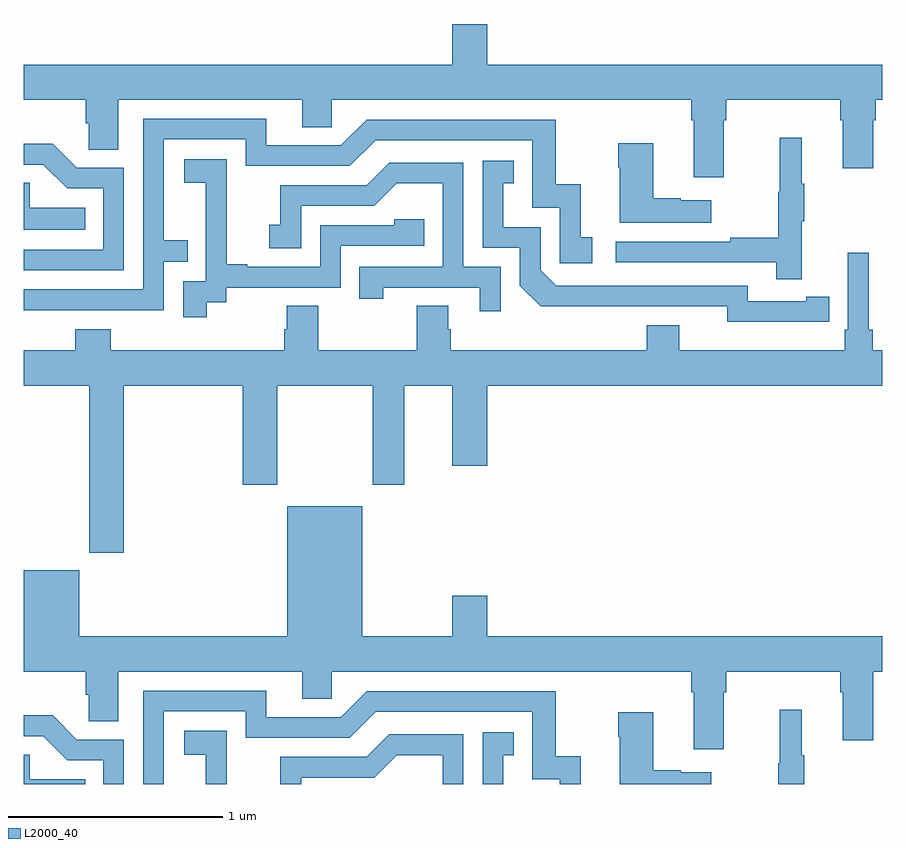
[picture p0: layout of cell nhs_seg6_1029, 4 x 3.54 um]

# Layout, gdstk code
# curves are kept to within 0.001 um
import gdstk
lib = gdstk.Library(unit=1e-6, precision=1e-09)
def P(c, l, *ps):  # polygons
    for p in ps: c.add(gdstk.Polygon(p, *l))
L2000_40 = (2000, 40)

nhs_seg6_1029 = lib.new_cell('nhs_seg6_1029')
P(nhs_seg6_1029, L2000_40, [(178.261,928.592),(178.274,928.592),(178.274,928.688),(178.805,928.688),(178.805,928.592),(178.817,928.592),(178.817,928.368),(178.957,928.368),(178.957,928.592),(178.97,928.592),(178.97,928.688),(179,928.688),(179,928.852),(177.16,928.852),(177.16,929.041),(176.996,929.041),(176.996,928.852),(175,928.852),(175,928.688),(175.289,928.688),(175.289,928.579),(175.302,928.579),(175.302,928.456),(175.441,928.456),(175.441,928.688),(176.297,928.688),(176.297,928.561),(176.436,928.561),(176.436,928.688),(178.109,928.688),(178.109,928.592),(178.121,928.592),(178.121,928.326),(178.261,928.326)],
  [(175.157,927.708),(175.653,927.708),(175.653,927.933),(175.763,927.933),(175.763,928.034),(175.653,928.034),(175.653,928.503),(176.034,928.503),(176.034,928.38),(176.52,928.38),(176.64,928.5),(177.369,928.5),(177.369,928.185),(177.498,928.185),(177.498,927.927),(177.649,927.927),(177.649,928.047),(177.596,928.047),(177.596,928.294),(177.478,928.294),(177.478,928.596),(176.598,928.596),(176.478,928.476),(176.131,928.476),(176.131,928.599),(175.557,928.599),(175.557,927.804),(175,927.804),(175,927.707)],
  [(178.625,928.123),(178.636,928.123),(178.636,928.297),(178.625,928.297),(178.625,928.51),(178.522,928.51),(178.522,928.26),(178.515,928.26),(178.515,928.046),(178.291,928.046),(178.291,928.026),(177.759,928.026),(177.759,927.93),(178.507,927.93),(178.507,927.852),(178.625,927.852)],
  [(178.204,928.219),(178.061,928.219),(178.061,928.229),(177.934,928.229),(177.934,928.486),(177.769,928.486),(177.769,928.373),(177.776,928.373),(177.776,928.115),(178.204,928.115)],
  [(175.467,928.371),(175.248,928.371),(175.135,928.484),(175,928.484),(175,928.386),(175.091,928.386),(175.202,928.275),(175.371,928.275),(175.371,927.99),(175,927.99),(175,927.894),(175.467,927.894)],
  [(175.852,927.745),(175.944,927.745),(175.944,927.813),(176.478,927.813),(176.478,928.008),(176.867,928.008),(176.867,928.131),(176.727,928.131),(176.727,928.104),(176.382,928.104),(176.382,927.909),(176.041,927.909),(176.041,927.922),(175.946,927.922),(175.946,928.205),(175.947,928.205),(175.947,928.411),(175.749,928.411),(175.749,928.301),(175.847,928.301),(175.847,928.073),(175.848,928.073),(175.848,927.843),(175.743,927.843),(175.743,927.675),(175.852,927.675)],
  [(178.646,927.654),(178.754,927.654),(178.754,927.77),(178.646,927.77),(178.646,927.75),(178.374,927.75),(178.374,927.822),(177.48,927.822),(177.408,927.894),(177.408,928.095),(177.235,928.095),(177.235,928.299),(177.284,928.299),(177.284,928.405),(177.138,928.405),(177.138,927.999),(177.312,927.999),(177.312,927.822),(177.41,927.725),(178.278,927.726),(178.278,927.653)],
  [(177.222,927.909),(177.048,927.909),(177.048,928.395),(176.702,928.395),(176.597,928.29),(176.194,928.29),(176.194,928.105),(176.145,928.105),(176.145,927.996),(176.292,927.996),(176.292,928.194),(176.634,928.194),(176.738,928.298),(176.952,928.298),(176.952,927.909),(176.563,927.909),(176.563,927.762),(176.674,927.762),(176.674,927.813),(177.125,927.813),(177.125,927.702),(177.222,927.702)],
  [(175.286,928.186),(175.029,928.186),(175.029,928.301),(175,928.301),(175,928.082),(175.286,928.082)],
  [(175.406,927.619),(175.241,927.619),(175.241,927.52),(175,927.52),(175,927.356),(175.306,927.356),(175.306,926.577),(175.466,926.577),(175.466,927.356),(176.021,927.356),(176.021,926.895),(176.181,926.895),(176.181,927.356),(176.626,927.356),(176.626,926.895),(176.773,926.895),(176.773,927.356),(176.996,927.356),(176.996,926.982),(177.16,926.982),(177.16,927.356),(179,927.356),(179,927.52),(178.955,927.52),(178.955,927.616),(178.936,927.616),(178.936,927.976),(178.839,927.976),(178.839,927.616),(178.826,927.616),(178.826,927.52),(178.054,927.52),(178.054,927.637),(177.902,927.637),(177.902,927.52),(176.99,927.52),(176.99,927.618),(176.977,927.618),(176.977,927.728),(176.83,927.728),(176.83,927.52),(176.373,927.52),(176.373,927.728),(176.225,927.728),(176.225,927.618),(176.213,927.618),(176.213,927.52),(175.406,927.52)],
  [(178.261,925.928),(178.274,925.928),(178.274,926.024),(178.805,926.024),(178.805,925.928),(178.817,925.928),(178.817,925.704),(178.957,925.704),(178.957,926.024),(179,926.024),(179,926.188),(177.16,926.188),(177.16,926.377),(176.996,926.377),(176.996,926.188),(176.578,926.188),(176.578,926.794),(176.228,926.794),(176.228,926.188),(175.258,926.188),(175.258,926.497),(175,926.497),(175,926.024),(175.289,926.024),(175.289,925.915),(175.302,925.915),(175.302,925.792),(175.441,925.792),(175.441,926.024),(176.297,926.024),(176.297,925.897),(176.436,925.897),(176.436,926.024),(178.109,926.024),(178.109,925.928),(178.121,925.928),(178.121,925.662),(178.261,925.662)],
  [(175.653,925.839),(176.034,925.839),(176.034,925.716),(176.52,925.716),(176.64,925.836),(177.369,925.836),(177.369,925.521),(177.498,925.521),(177.498,925.5),(177.596,925.5),(177.596,925.63),(177.478,925.63),(177.478,925.932),(176.598,925.932),(176.478,925.812),(176.131,925.812),(176.131,925.935),(175.557,925.935),(175.557,925.5),(175.653,925.5)],
  [(178.636,925.633),(178.625,925.633),(178.625,925.846),(178.522,925.846),(178.522,925.596),(178.515,925.596),(178.515,925.5),(178.636,925.5)],
  [(178.204,925.555),(178.061,925.555),(178.061,925.565),(177.934,925.565),(177.934,925.834),(177.769,925.834),(177.769,925.721),(177.776,925.721),(177.776,925.5),(178.204,925.5)],
  [(175.467,925.707),(175.248,925.707),(175.135,925.82),(175,925.82),(175,925.722),(175.091,925.722),(175.202,925.611),(175.371,925.611),(175.371,925.5),(175.467,925.5)],
  [(175.946,925.541),(175.947,925.541),(175.947,925.747),(175.749,925.747),(175.749,925.637),(175.847,925.637),(175.847,925.5),(175.946,925.5)],
  [(177.235,925.635),(177.284,925.635),(177.284,925.741),(177.138,925.741),(177.138,925.5),(177.235,925.5)],
  [(176.292,925.53),(176.634,925.53),(176.738,925.634),(176.952,925.634),(176.952,925.5),(177.048,925.5),(177.048,925.731),(176.702,925.731),(176.597,925.626),(176.194,925.626),(176.194,925.5),(176.292,925.5)],
  [(175.286,925.522),(175.029,925.522),(175.029,925.637),(175,925.637),(175,925.5),(175.286,925.5)])

lib.write_gds('nhs_seg6_1029.gds')
